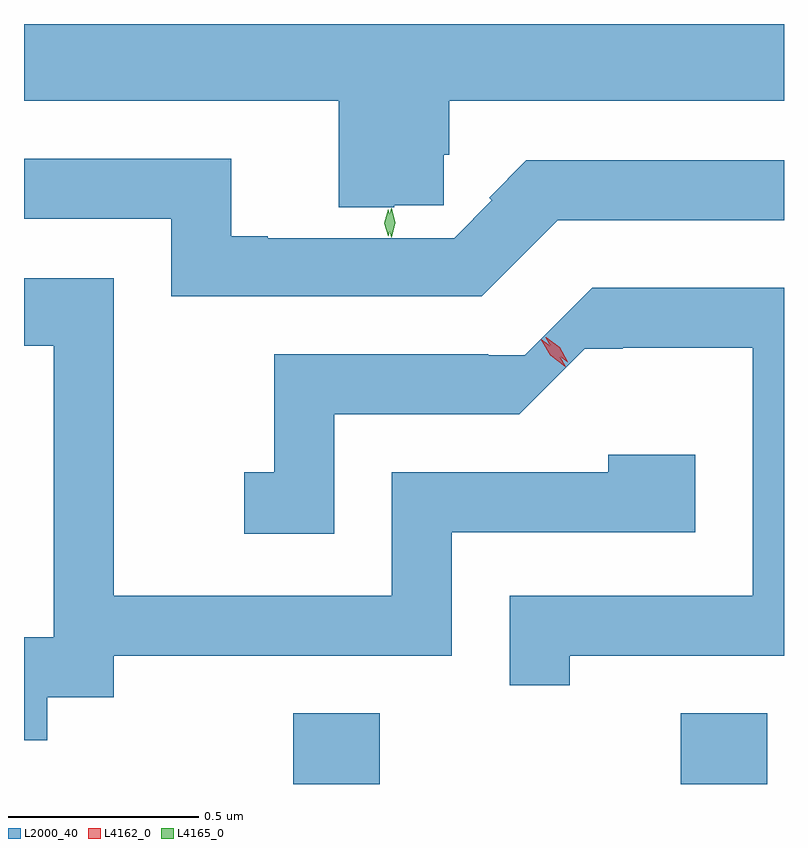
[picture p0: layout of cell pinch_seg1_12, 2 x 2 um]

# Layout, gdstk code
import gdstk
lib = gdstk.Library(unit=1e-6, precision=1e-09)
def R(c, l, rs):  # rectangles x0, y0, x1, y1
    for r in rs: c.add(gdstk.rectangle(r[:2], r[2:], *l))
def P(c, l, *ps):  # polygons
    for p in ps: c.add(gdstk.Polygon(p, *l))
L2000_40 = (2000, 40)
L4162_0 = (4162, 0)
L4165_0 = (4165, 0)

pinch_seg1_12 = lib.new_cell('pinch_seg1_12')
R(pinch_seg1_12, L2000_40, [(1536.541,875.578,1536.769,875.764), (1537.561,875.578,1537.789,875.764)])
P(pinch_seg1_12, L2000_40, [(1536.807,877.101),(1536.938,877.101),(1536.938,877.234),(1536.952,877.234),(1536.952,877.376),(1537.833,877.376),(1537.833,877.578),(1535.833,877.578),(1535.833,877.376),(1536.661,877.376),(1536.661,877.096),(1536.807,877.096)],
  [(1537.237,877.061),(1537.833,877.061),(1537.833,877.219),(1537.155,877.219),(1537.057,877.121),(1537.064,877.114),(1536.965,877.014),(1536.475,877.014),(1536.475,877.019),(1536.379,877.019),(1536.379,877.224),(1535.833,877.224),(1535.833,877.066),(1536.221,877.066),(1536.221,876.861),(1537.037,876.861)],
  [(1535.894,875.806),(1536.069,875.806),(1536.069,875.916),(1536.959,875.916),(1536.959,876.241),(1537.599,876.241),(1537.599,876.444),(1537.371,876.444),(1537.371,876.399),(1536.801,876.399),(1536.801,876.074),(1536.069,876.074),(1536.069,876.909),(1535.833,876.909),(1535.833,876.731),(1535.911,876.731),(1535.911,875.964),(1535.833,875.964),(1535.833,875.693),(1535.894,875.693)],
  [(1537.269,875.916),(1537.833,875.916),(1537.833,876.884),(1537.329,876.884),(1537.151,876.706),(1537.055,876.706),(1537.055,876.709),(1536.491,876.709),(1536.491,876.399),(1536.413,876.399),(1536.413,876.236),(1536.649,876.236),(1536.649,876.551),(1537.136,876.551),(1537.309,876.724),(1537.409,876.724),(1537.409,876.726),(1537.751,876.726),(1537.751,876.074),(1537.111,876.074),(1537.111,875.838),(1537.269,875.838)])
P(pinch_seg1_12, L4162_0, [(1537.264,876.688),(1537.228,876.714),(1537.206,876.753),(1537.206,876.754),(1537.207,876.754),(1537.243,876.727),(1537.264,876.689),(1537.264,876.688)],
  [(1537.257,876.676),(1537.218,876.706),(1537.193,876.748),(1537.193,876.749),(1537.194,876.749),(1537.233,876.719),(1537.258,876.676),(1537.258,876.676)])
P(pinch_seg1_12, L4165_0, [(1536.791,877.019),(1536.791,877.02),(1536.781,877.054),(1536.791,877.09),(1536.791,877.09),(1536.792,877.09),(1536.801,877.054),(1536.792,877.02)],
  [(1536.8,877.017),(1536.8,877.017),(1536.79,877.055),(1536.8,877.093),(1536.8,877.093),(1536.801,877.093),(1536.81,877.055),(1536.801,877.017)])

lib.write_gds('pinch_seg1_12.gds')
